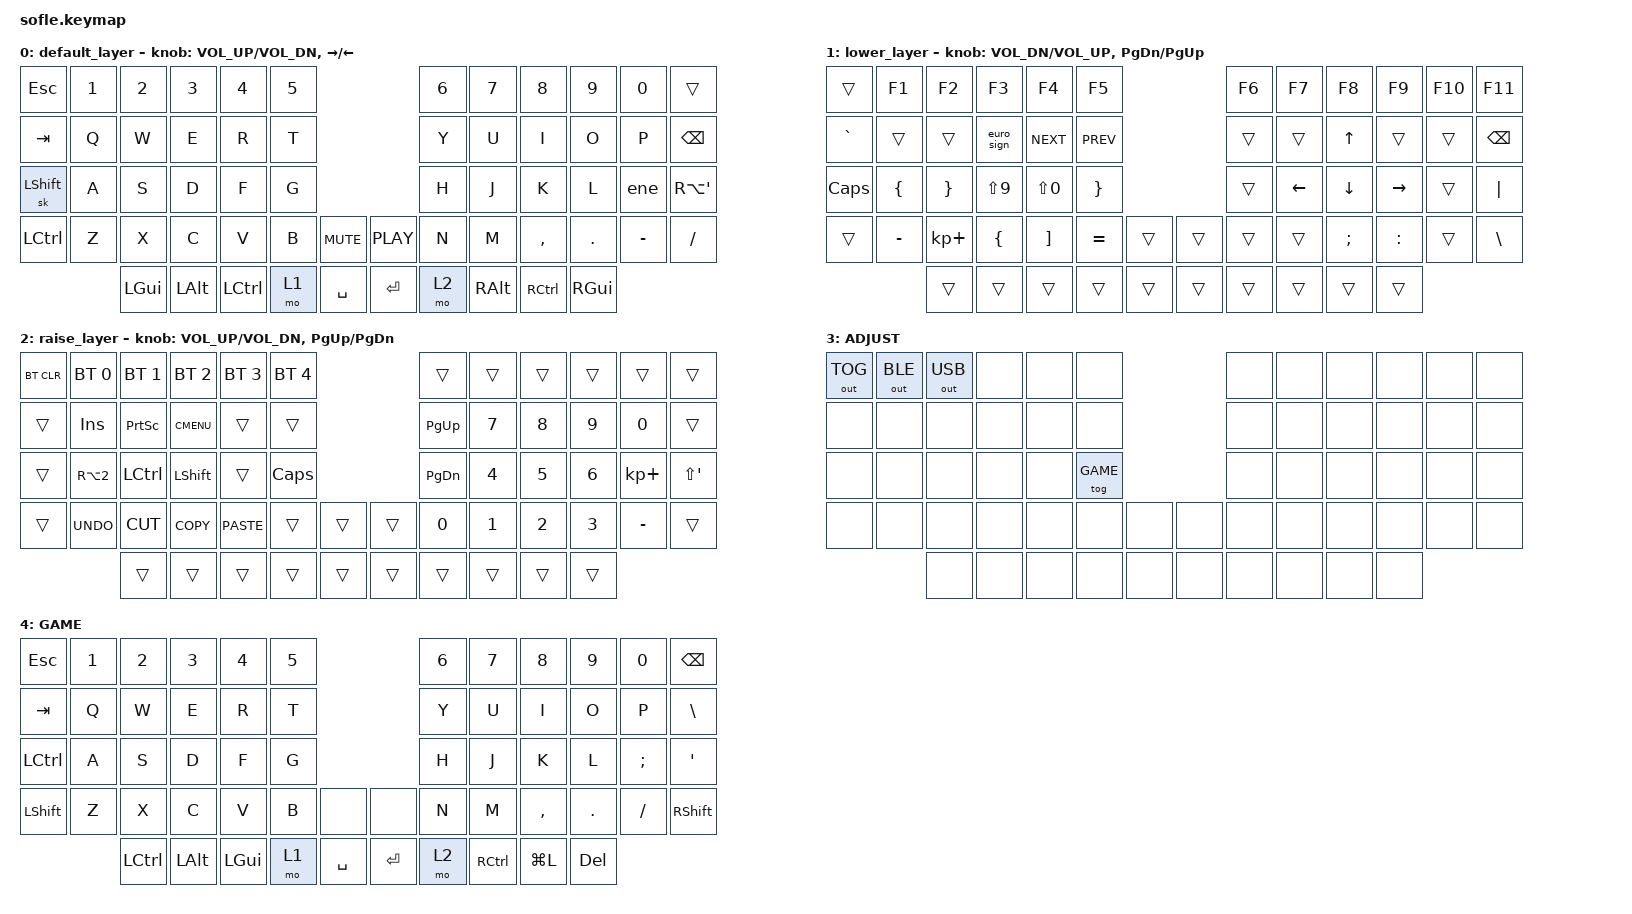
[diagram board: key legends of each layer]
/*
 * Copyright (c) 2020 The ZMK Contributors
 *
 * SPDX-License-Identifier: MIT
 */

#include <behaviors.dtsi>
#include <dt-bindings/zmk/keys.h>
#include <dt-bindings/zmk/bt.h>
#include <dt-bindings/zmk/outputs.h>
#include "../zmk-nodefree-config/helper.h"
#include "../zmk-nodefree-config/keypos_def/keypos_36keys.h"
#include "../zmk-nodefree-config/international_chars/german.dtsi"


// euro sign
ZMK_UNICODE_SINGLE(euro_sign, N2, N0, A, C)
// eñe EÑE sign
ZMK_UNICODE_PAIR(ene, N0, N0, F, N1, N0, N0, D, N1)

#define BASE 0
#define LOWER 1
#define RAISE 2
#define ADJUST 3
#define GAME 4

/ {

   // Activate ADJUST layer by pressing raise and lower
    conditional_layers {
        compatible = "zmk,conditional-layers";
        adjust_layer {
            if-layers = <LOWER RAISE>;
            then-layer = <ADJUST>;
        };
    };
    
    keymap {
        compatible = "zmk,keymap";

        default_layer {
// ------------------------------------------------------------------------------------------------------------
// |  ESC  |  1! |  2@ |  3#  |  4$  |  5%  |                   |  6^  |  7&   |  8*   |  9(  |   0)  |       |
// |  TAB  |  Q  |  W  |  E   |  R   |  T   |                   |  Y   |  U    |  I    |  O   |   P   | BKSPC |
// | SHIFT |  A  |  S  |  D   |  F   |  G   |                   |  H   |  J    |  K    |  L   |   Ñ   |   ’”  |
// | CTRL  |  Z  |  X  |  C   |  V   |  B   |  MUTE  |  | PLAY  |  N   |  M    |  ,<   |  .>  |   -_  |   /?  |
//               | GUI | ALT  | CTRL | LOWER|  SPACE |  | ENTER | RAISE|  ALT  | CTRL  | GUI  |
            bindings = <
&kp ESC   &kp N1 &kp N2   &kp N3   &kp N4    &kp N5                         &kp N6 &kp N7    &kp N8    &kp N9   &kp N0    &trans
&kp TAB   &kp Q  &kp W    &kp E    &kp R     &kp T                          &kp Y  &kp U     &kp I     &kp O    &kp P     &kp BSPC
&sk LSHFT &kp A  &kp S    &kp D    &kp F     &kp G                          &kp H  &kp J     &kp K     &kp L    &ene      &kp RA(SQT)
&kp LCTRL &kp Z  &kp X    &kp C    &kp V     &kp B  &kp C_MUTE   &kp C_PLAY &kp N  &kp M     &kp COMMA &kp DOT  &kp MINUS &kp SLASH
                 &kp LGUI &kp LALT &kp LCTRL &mo 1  &kp SPACE    &kp RET    &mo 2  &kp RALT  &kp RCTRL &kp RGUI
            >;

            sensor-bindings = <&inc_dec_kp C_VOL_UP C_VOL_DN &inc_dec_kp RIGHT LEFT>;
        };

        lower_layer {
// TODO: Some binds are waiting for shifted keycode support.
// ------------------------------------------------------------------------------------------------------------
// |       |  F1 |  F2 |  F3  |  F4  |  F5  |                   |  F6  |  F7   |  F8   |  F9  |  F10  |  F11  |
// | `~    |     |     |  €   | prev | next |                   |      |       |  UP   |      |       | BKSPC |
// | CAPS  |  {  |  }  |  (   |  )   |      |                   |      | LEFT  | DOWN  | RIGHT|       |   |   |
// |       |  -  |  +  |  [   |  ]   |  =   |        |  |       |      |       |  ;    |  :   |       |   \   |
//               |     |      |      |      |        |  |       |      |       |       |      |
            bindings = <
&trans    &kp F1    &kp F2      &kp F3      &kp F4     &kp F5                     &kp F6    &kp F7   &kp F8      &kp F9    &kp F10   &kp F11
&kp GRAVE &trans    &trans      &euro_sign  &kp K_NEXT &kp K_PREV                     &trans    &trans   &kp UP      &trans    &trans    &kp BSPC
&kp CAPS  &kp LBRC  &kp RBRC    &kp LS(N9)  &kp LS(N0) &kp RBRC                   &trans    &kp LEFT &kp DOWN    &kp RIGHT &trans    &kp PIPE
&trans    &kp MINUS &kp KP_PLUS &kp LBRC    &kp RBKT   &kp EQUAL  &trans   &trans &trans    &trans   &kp SEMI    &kp COLON &trans    &kp BSLH
                    &trans      &trans      &trans     &trans     &trans   &trans &trans    &trans   &trans      &trans
            >;

            sensor-bindings = <&inc_dec_kp C_VOL_DN C_VOL_UP &inc_dec_kp PG_DN PG_UP>;
        };

        raise_layer {
// ------------------------------------------------------------------------------------------------------------             
// |BTCLR| BT1  | BT2  |  BT3  |  BT4  |  BT5 |                |      |      |       |      |       |       |
// |     | INS  | PSCR | GUI   |       |      |                | PGUP |   7  |   8   |   9  |   0   |       |
// |     | ALT  | CTRL | SHIFT |       | CAPS |                | PGDN |   4  |   5   |   6  |   +   |   ''  |
// |     | UNDO | CUT  | COPY  | PASTE |      |      |  |      |   0  |   1  |   2   |   3  |   -   |       |
//              |      |       |       |      |      |  |      |      |      |       |      |
            bindings = <
&bt BT_CLR &bt BT_SEL 0 &bt BT_SEL 1 &bt BT_SEL 2 &bt BT_SEL 3 &bt BT_SEL 4             &trans    &trans    &trans   &trans  &trans  &trans
&trans     &kp INS      &kp PSCRN    &kp K_CMENU  &trans       &trans                   &kp PG_UP &kp N7    &kp N8   &kp N9  &kp N0  &trans
&trans     &kp RA(2)     &kp LCTRL    &kp LSHFT    &trans       &kp CLCK                &kp PG_DN &kp N4    &kp N5   &kp N6  &kp KP_PLUS  &kp LS(SQT)
&trans     &kp K_UNDO   &kp K_CUT    &kp K_COPY   &kp K_PASTE  &trans  &trans   &trans  &kp N0    &kp N1    &kp N2   &kp N3  &kp MINUS  &trans
                        &trans       &trans       &trans       &trans  &trans   &trans  &trans    &trans    &trans   &trans
            >;

            sensor-bindings = <&inc_dec_kp C_VOL_UP C_VOL_DN &inc_dec_kp PG_UP PG_DN>;
        };
        
        Adjust_layer {
            label = "ADJUST";
// ------------------------------------------------------------------------------------------------------------
// |USB/BLE|TOGBLE|TOGUSB|      |       |      |                |      |      |       |      |       |       |
// |       |      |      |      |       |      |                |      |      |       |      |       |       |
// |       |      |      |      |       | GAME |                |      |      |       |      |       |       |
// |       |      |      |      |       |      |      |  |      |      |      |       |      |       |       |
//                |      |      |       |      |      |  |      |      |      |       |      |
        bindings = <
&out OUT_TOG  &out OUT_BLE  &out OUT_USB  &none  &none  &none                       &none  &none  &none  &none  &none  &none
&none         &none         &none         &none  &none  &none                       &none  &none  &none  &none  &none  &none
&none         &none         &none         &none  &none  &tog GAME                   &none  &none  &none  &none  &none  &none
&none         &none         &none         &none  &none  &none       &none  &none    &none  &none  &none  &none  &none  &none
                            &none         &none  &none  &none       &none  &none    &none  &none  &none  &none
            >;
        };
        
        Game_layer {
            label = "GAME";
// ------------------------------------------------------------------------------------------------------------
// |  ESC  |  1  |  2  |  3   |  4   |  5   |                   |  6   |   7   |   8   |  9   |   0   |  BSPC |
// |  TAB  |  Q  |  W  |  E   |  R   |  T   |                   |  Y   |   U   |   I   |  O   |   P   |   \   |
// | CTRL  |  A  |  S  |  D   |  F   |  G   |                   |  H   |   J   |   K   |  L   |   ;   |   '   |
// | SHIFT |  Z  |  X  |  C   |  V   |  B   |        |  |       |  N   |   M   |   ,   |  .   |   /   | SHIFT |
//               |CTRL | ALT  | LGUI | LOWER|  SPACE |  | ENTER | RAISE| CTRL  | LOCK  | DEL  |
            bindings = <
&kp ESC    &kp N1  &kp N2     &kp N3    &kp N4    &kp N5                          &kp N6  &kp N7     &kp N8     &kp N9   &kp N0    &kp BSPC
&kp TAB    &kp Q   &kp W      &kp E     &kp R     &kp T                           &kp Y   &kp U      &kp I      &kp O    &kp P     &kp BSLH
&kp LCTRL   &kp A   &kp S      &kp D     &kp F     &kp G                           &kp H   &kp J      &kp K      &kp L    &kp SEMI  &kp SQT
&kp LSHFT  &kp Z   &kp X      &kp C     &kp V     &kp B   &none       &none       &kp N   &kp M      &kp COMMA  &kp DOT  &kp FSLH  &kp RSHFT
                   &kp LCTRL  &kp LALT  &kp LGUI  &mo 1   &kp SPACE     &kp RET   &mo 2   &kp RCTRL  &kp LG(L)  &kp DEL
            >;
        };
    };
};
